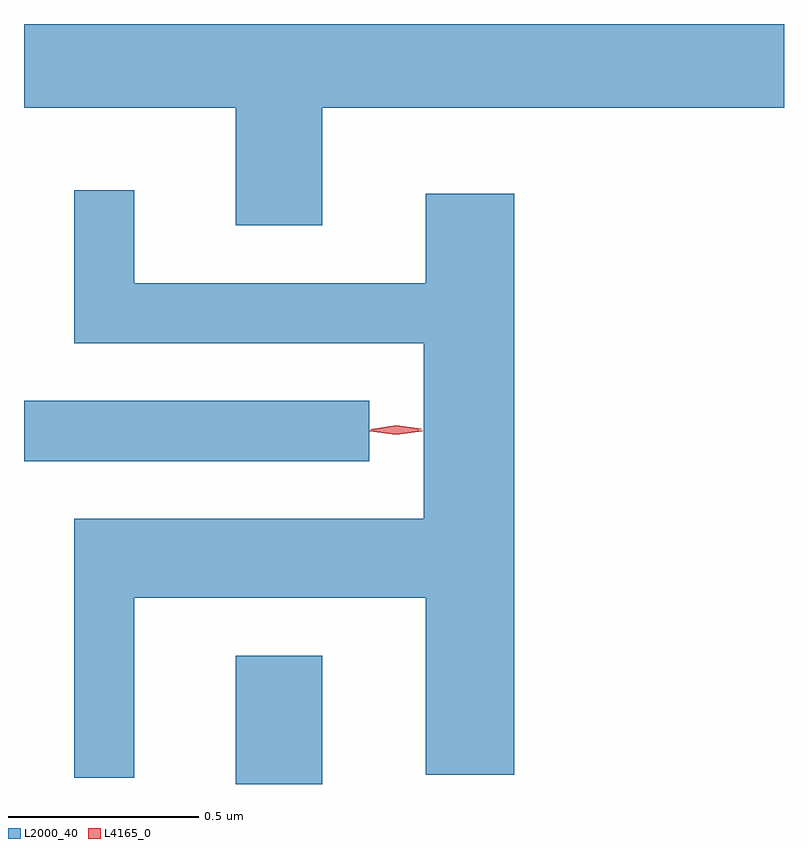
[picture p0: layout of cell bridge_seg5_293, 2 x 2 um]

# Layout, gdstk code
import gdstk
lib = gdstk.Library(unit=1e-6, precision=1e-09)
def R(c, l, rs):  # rectangles x0, y0, x1, y1
    for r in rs: c.add(gdstk.rectangle(r[:2], r[2:], *l))
def P(c, l, *ps):  # polygons
    for p in ps: c.add(gdstk.Polygon(p, *l))
L2000_40 = (2000, 40)
L4165_0 = (4165, 0)

bridge_seg5_293 = lib.new_cell('bridge_seg5_293')
R(bridge_seg5_293, L2000_40, [(878.911,1474.996,879.139,1475.334), (878.354,1475.846,879.263,1476.004)])
P(bridge_seg5_293, L2000_40, [(879.139,1476.776),(880.354,1476.776),(880.354,1476.996),(878.354,1476.996),(878.354,1476.776),(878.911,1476.776),(878.911,1476.466),(879.139,1476.466)],
  [(878.644,1475.486),(879.411,1475.486),(879.411,1475.021),(879.644,1475.021),(879.644,1476.549),(879.411,1476.549),(879.411,1476.314),(878.644,1476.314),(878.644,1476.558),(878.486,1476.558),(878.486,1476.156),(879.406,1476.156),(879.406,1475.694),(878.486,1475.694),(878.486,1475.013),(878.644,1475.013)])
P(bridge_seg5_293, L4165_0, [(879.333,1475.915),(879.264,1475.924),(879.264,1475.925),(879.264,1475.926),(879.333,1475.935),(879.402,1475.926),(879.403,1475.925),(879.402,1475.924)],
  [(879.334,1475.92),(879.267,1475.928),(879.267,1475.929),(879.267,1475.929),(879.333,1475.94),(879.399,1475.931),(879.4,1475.931),(879.399,1475.93)])

lib.write_gds('bridge_seg5_293.gds')
